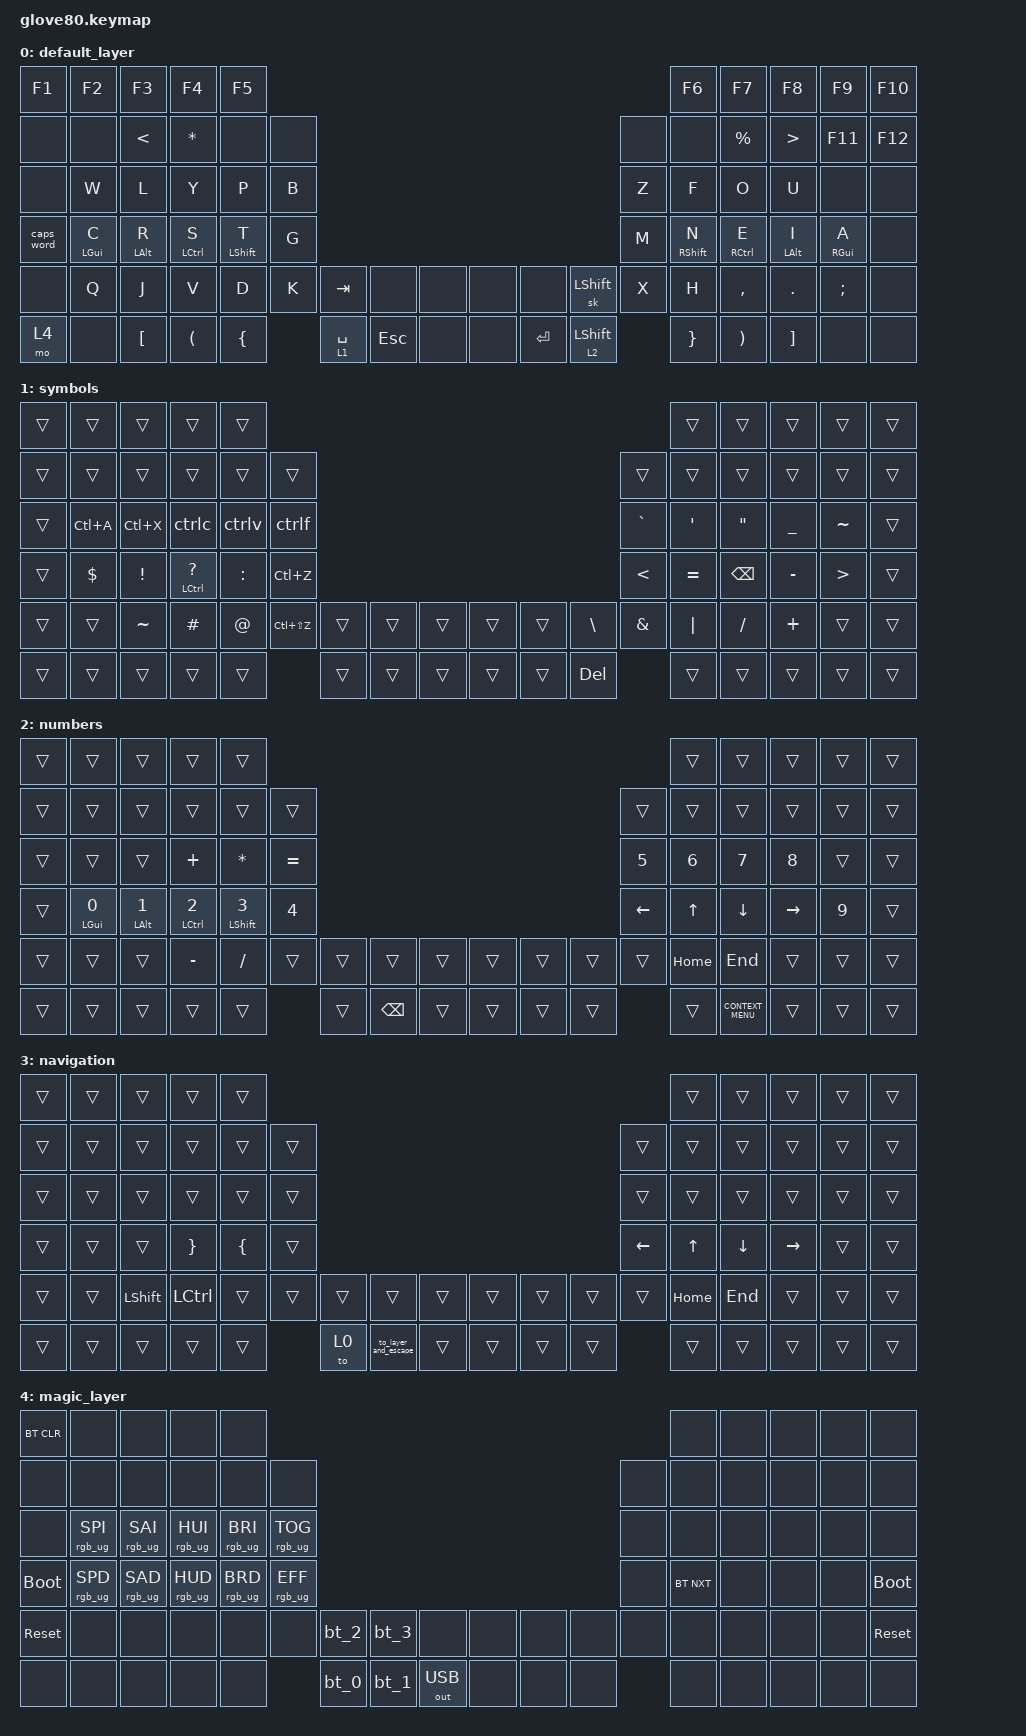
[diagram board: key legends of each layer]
/*
 * Copyright (c) 2020 The ZMK Contributors
 *
 * SPDX-License-Identifier: MIT
 */

#include <behaviors.dtsi>
#include <dt-bindings/zmk/bt.h>
#include <dt-bindings/zmk/keys.h>
#include <dt-bindings/zmk/outputs.h>
#include <dt-bindings/zmk/rgb.h>

// layers

#define DEFAULT 0
#define LOWER 1
#define MAGIC 2

/ {
    behaviors {
        // For the "layer" key, it'd nice to be able to use it as either a shift or a toggle.
        // Configure it as a tap dance, so the first tap (or hold) is a &mo and the second tap is a &to

        layer_td: tap_dance_0 {
            compatible = "zmk,behavior-tap-dance";
            #binding-cells = <0>;
            tapping-term-ms = <200>;
            bindings = <&mo 4>, <&to 4>;
        };

        hml: homewrow_mods_left {
            compatible = "zmk,behavior-hold-tap";
            label = "HOMEROW_MODS_LEFT_HAND";
            bindings = <&kp>, <&kp>;

            #binding-cells = <2>;
            tapping-term-ms = <200>;
            hold-trigger-key-positions = <55 56 57 72 73 74 75 76 77 78 79 63 32 44 62 32 33 40 41 42 43 44 45 60 5 6 7 8 9 16 17 18 19 20 21 28 29 30 31 32 33 40 41 42 43 44 45 58 59 60 61 62 63 69 70 71 52 53 54>;
            flavor = "balanced";
            hold-trigger-on-release;
        };

        hmr: homewrow_mods_right {
            compatible = "zmk,behavior-hold-tap";
            label = "HOMEROW_MODS_RIGHT_HAND";
            bindings = <&kp>, <&kp>;

            #binding-cells = <2>;
            tapping-term-ms = <200>;
            hold-trigger-key-positions = <0 1 2 3 4 10 11 12 13 14 15 22 23 24 25 26 27 34 35 36 37 38 39 46 47 48 49 50 51 52 53 54 64 65 66 67 68 69 70 71 55 56 57 72 73 74>;
            flavor = "balanced";
            hold-trigger-on-release;
        };

        ctrlc: ctrl_c {
            compatible = "zmk,behavior-tap-dance";
            label = "CTRL_C";
            #binding-cells = <0>;
            bindings = <&kp LC(C)>, <&kp LC(LS(C))>;
        };

        ctrlv: ctrl_v {
            compatible = "zmk,behavior-tap-dance";
            label = "CTRL_V";
            #binding-cells = <0>;
            bindings = <&kp LC(V)>, <&kp LC(LS(V))>;
        };

        ctrlf: ctrl_f {
            compatible = "zmk,behavior-tap-dance";
            label = "CTRL_F";
            #binding-cells = <0>;
            bindings = <&kp LC(F)>, <&kp LC(LS(F))>;
        };

        layer_sticky: layer_sticky {
            compatible = "zmk,behavior-hold-tap";
            label = "LAYER_STICKY";
            bindings = <&mo>, <&sk>;

            #binding-cells = <2>;
            tapping-term-ms = <200>;
        };
    };

    macros {
        bt_0: bt_profile_macro_0 {
            compatible = "zmk,behavior-macro";
            #binding-cells = <0>;
            bindings = <&out OUT_BLE &bt BT_SEL 0>;
        };

        bt_1: bt_profile_macro_1 {
            compatible = "zmk,behavior-macro";
            #binding-cells = <0>;
            bindings = <&out OUT_BLE &bt BT_SEL 1>;
        };

        bt_2: bt_profile_macro_2 {
            compatible = "zmk,behavior-macro";
            #binding-cells = <0>;
            bindings = <&out OUT_BLE &bt BT_SEL 2>;
        };

        bt_3: bt_profile_macro_3 {
            compatible = "zmk,behavior-macro";
            #binding-cells = <0>;
            bindings = <&out OUT_BLE &bt BT_SEL 3>;
        };

        to_nav_and_left: new_macro {
            compatible = "zmk,behavior-macro";
            #binding-cells = <0>;
            bindings = <&to 3 &kp LEFT_ARROW>;
            label = "NEW_MACRO";
        };

        to_nav_and_right: to_nav_and_right {
            compatible = "zmk,behavior-macro";
            #binding-cells = <0>;
            bindings = <&to 3 &kp RIGHT_ARROW>;
            label = "TO_NAV_AND_RIGHT";
        };

        to_nav_and_up: to_nav_and_top {
            compatible = "zmk,behavior-macro";
            #binding-cells = <0>;
            bindings = <&to 3 &kp UP_ARROW>;
            label = "TO_NAV_AND_TOP";
        };

        to_nav_and_down: to_nav_and_down {
            compatible = "zmk,behavior-macro";
            #binding-cells = <0>;
            bindings = <&to 3 &kp DOWN_ARROW>;
            label = "TO_NAV_AND_DOWN";
        };

        to_layer_and_escape: to_layer_and_escape {
            compatible = "zmk,behavior-macro";
            #binding-cells = <0>;
            bindings = <&to 0 &kp ESCAPE>;
            label = "TO_LAYER_AND_ESCAPE";
        };
    };

    combos { compatible = "zmk,combos"; };

    keymap {
        compatible = "zmk,keymap";

        default_layer {
            // ---------------------------------------------------------------------------------------------------------------------------------
            // |  F1   |  F2 |  F3 |  F4  |  F5  |                                                               |  F6   |  F7   |  F8  |   F9  |  F10 |
            // |  =    |  1  |  2  |  3   |  4   |  5   |                                                 |  6   |   7   |   8   |  9   |   0   |   -  |
            // |  TAB  |  Q  |  W  |  E   |  R   |  T   |                                                 |  Y   |   U   |   I   |  O   |   P   |   \  |
            // |  ESC  |  A  |  S  |  D   |  F   |  G   |                                                 |  H   |   J   |   K   |  L   |   ;   |   '  |
            // |   `   |  Z  |  X  |  C   |  V   |  B   | LSHFT | LCTRL | LOWER | | LGUI  | RCTRL | RSHFT |  N   |   M   |   ,   |  .   |   /   | PGUP |
            // | MAGIC | HOME| END | LEFT | RIGHT|      | BSPC  | DEL   | LALT  | | RALT  | RET   | SPACE |      |  UP   | DOWN  |  [   |   ]   | PGDN |

            bindings = <
&kp F1      &kp F2           &kp F3            &kp F4                &kp F5                                                                                                      &kp F6           &kp F7                 &kp F8             &kp F9            &kp F10
&none       &none            &kp LESS_THAN     &kp STAR              &none              &none                                                                             &none  &none            &kp PERCENT            &kp GREATER_THAN   &kp F11           &kp F12
&none       &kp W            &kp L             &kp Y                 &kp P              &kp B                                                                             &kp Z  &kp F            &kp O                  &kp U              &none             &none
&caps_word  &hml LEFT_GUI C  &hml LEFT_ALT R   &hml LCTRL S          &hml LEFT_SHIFT T  &kp G                                                                             &kp M  &hmr RSHIFT N    &hmr RCTRL E           &hmr LEFT_ALT I    &hmr RIGHT_GUI A  &none
&none       &kp Q            &kp J             &kp V                 &kp D              &kp K  &kp TAB      &none    &none    &none  &none    &sk LEFT_SHIFT              &kp X  &kp H            &kp COMMA              &kp DOT            &kp SEMICOLON     &none
&mo 4       &none            &kp LEFT_BRACKET  &kp LEFT_PARENTHESIS  &kp LEFT_BRACE            &lt 1 SPACE  &kp ESC  &none    &none  &kp RET  &layer_sticky 2 LEFT_SHIFT         &kp RIGHT_BRACE  &kp RIGHT_PARENTHESIS  &kp RIGHT_BRACKET  &none             &none
            >;
        };

        symbols {
            bindings = <
&trans  &trans      &trans     &trans                   &trans                                                                                       &trans            &trans             &trans          &trans            &trans
&trans  &trans      &trans     &trans                   &trans     &trans                                                             &trans         &trans            &trans             &trans          &trans            &trans
&trans  &kp LC(A)   &kp LC(X)  &ctrlc                   &ctrlv     &ctrlf                                                             &kp GRAVE      &kp SINGLE_QUOTE  &kp DOUBLE_QUOTES  &kp UNDERSCORE  &kp TILDE         &trans
&trans  &kp DOLLAR  &kp EXCL   &hml LEFT_CONTROL QMARK  &kp COLON  &kp LC(Z)                                                          &kp LESS_THAN  &kp EQUAL         &kp BACKSPACE      &kp MINUS       &kp GREATER_THAN  &trans
&trans  &trans      &kp TILDE  &kp HASH                 &kp AT     &kp LC(LS(Z))  &trans  &trans  &trans    &trans  &trans  &kp BSLH  &kp AMPERSAND  &kp PIPE          &kp SLASH          &kp PLUS        &trans            &trans
&trans  &trans      &trans     &trans                   &trans                    &trans  &trans  &trans    &trans  &trans  &kp DEL                  &trans            &trans             &trans          &trans            &trans
            >;
        };

        numbers {
            bindings = <
&trans  &trans        &trans            &trans         &trans                                                                                                  &trans        &trans              &trans           &trans  &trans
&trans  &trans        &trans            &trans         &trans              &trans                                                              &trans          &trans        &trans              &trans           &trans  &trans
&trans  &trans        &trans            &kp PLUS       &kp STAR            &kp EQUAL                                                           &kp N5          &kp N6        &kp N7              &kp N8           &trans  &trans
&trans  &hml LGUI N0  &hml LEFT_ALT N1  &hml LCTRL N2  &hml LEFT_SHIFT N3  &kp N4                                                              &kp LEFT_ARROW  &kp UP_ARROW  &kp DOWN_ARROW      &kp RIGHT_ARROW  &kp N9  &trans
&trans  &trans        &trans            &kp MINUS      &kp SLASH           &trans     &trans  &trans         &trans    &trans  &trans  &trans  &trans          &kp HOME      &kp END             &trans           &trans  &trans
&trans  &trans        &trans            &trans         &trans                         &trans  &kp BACKSPACE  &trans    &trans  &trans  &trans                  &trans        &kp K_CONTEXT_MENU  &trans           &trans  &trans
            >;
        };

        navigation {
            bindings = <
&trans  &trans  &trans     &trans           &trans                                                                                            &trans    &trans    &trans     &trans  &trans
&trans  &trans  &trans     &trans           &trans          &trans                                                                  &trans    &trans    &trans    &trans     &trans  &trans
&trans  &trans  &trans     &trans           &trans          &trans                                                                  &trans    &trans    &trans    &trans     &trans  &trans
&trans  &trans  &trans     &kp RIGHT_BRACE  &kp LEFT_BRACE  &trans                                                                  &kp LEFT  &kp UP    &kp DOWN  &kp RIGHT  &trans  &trans
&trans  &trans  &kp LSHFT  &kp LCTRL        &trans          &trans  &trans  &trans                &trans    &trans  &trans  &trans  &trans    &kp HOME  &kp END   &trans     &trans  &trans
&trans  &trans  &trans     &trans           &trans                  &to 0   &to_layer_and_escape  &trans    &trans  &trans  &trans            &trans    &trans    &trans     &trans  &trans
            >;
        };

        magic_layer {
            bindings = <
&bt BT_CLR   &none            &none            &none            &none                                                                                       &none       &none  &none  &none  &none
&none        &none            &none            &none            &none            &none                                                               &none  &none       &none  &none  &none  &none
&none        &rgb_ug RGB_SPI  &rgb_ug RGB_SAI  &rgb_ug RGB_HUI  &rgb_ug RGB_BRI  &rgb_ug RGB_TOG                                                     &none  &none       &none  &none  &none  &none
&bootloader  &rgb_ug RGB_SPD  &rgb_ug RGB_SAD  &rgb_ug RGB_HUD  &rgb_ug RGB_BRD  &rgb_ug RGB_EFF                                                     &none  &bt BT_NXT  &none  &none  &none  &bootloader
&sys_reset   &none            &none            &none            &none            &none            &bt_2  &bt_3  &none           &none  &none  &none  &none  &none       &none  &none  &none  &sys_reset
&none        &none            &none            &none            &none                             &bt_0  &bt_1  &out OUT_USB    &none  &none  &none         &none       &none  &none  &none  &none
            >;
        };
    };
};
